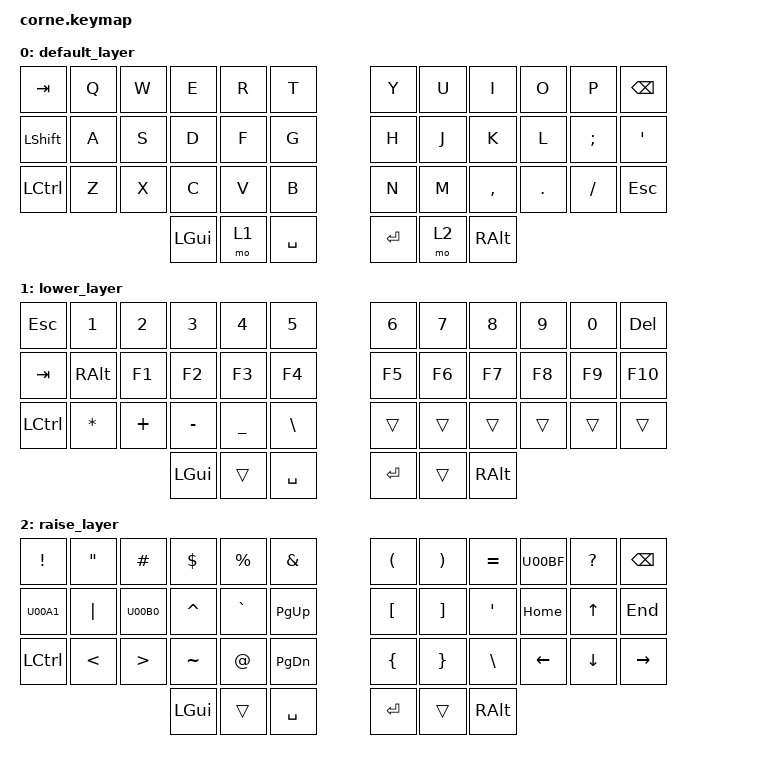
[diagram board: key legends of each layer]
/*
 * Copyright (c) 2020 The ZMK Contributors
 *
 * SPDX-License-Identifier: MIT
 */

#include <behaviors.dtsi>
#include <dt-bindings/zmk/keys.h>
#include <dt-bindings/zmk/bt.h>

 / {
        keymap {
                compatible = "zmk,keymap";

                default_layer {
                        bindings = <
   &kp TAB   &kp Q &kp W &kp E &kp R &kp T   &kp Y &kp U  &kp I     &kp O   &kp P    &kp BSPC
   &kp LSHFT &kp A &kp S &kp D &kp F &kp G   &kp H &kp J  &kp K     &kp L   &kp SEMI &kp SQT
   &kp LCTRL &kp Z &kp X &kp C &kp V &kp B   &kp N &kp M  &kp COMMA &kp DOT &kp FSLH &kp ESC
                  &kp LGUI &mo 1 &kp SPACE   &kp RET &mo 2 &kp RALT
                        >;
                };
                lower_layer {
                        bindings = <
   &kp ESC    &kp N1       &kp N2       &kp N3       &kp N4       &kp N5         &kp N6   &kp N7   &kp N8 &kp N9  &kp N0 &kp DEL
   &kp TAB    &kp RALT     &kp F1       &kp F2       &kp F3       &kp F4         &kp F5   &kp F6   &kp F7 &kp F8  &kp F9 &kp F10
   &kp LCTRL  &kp STAR     &kp PLUS     &kp MINUS    &kp UNDER    &kp BSLH       &trans   &trans   &trans &trans  &trans &trans
                                    &kp LGUI     &trans       &kp SPACE          &kp RET  &trans   &kp RALT
                        >;
                };

                raise_layer {
        bindings = <
   &kp EXCL  &kp DQT &kp HASH &kp DLLR &kp PRCNT &kp AMPS
   &kp LPAR &kp RPAR  &kp EQUAL &kp U00BF &kp QMARK &kp BSPC
   &kp U00A1 &kp PIPE &kp U00B0 &kp CARET &kp GRAVE &kp PAGE_UP
   &kp LBKT &kp RBKT &kp SQT  &kp HOME &kp UP &kp END
   &kp LCTRL &kp LT &kp GT &kp TILDE &kp AT &kp PAGE_DOWN
   &kp LBRC &kp RBRC  &kp BSLH  &kp LEFT &kp DOWN &kp RIGHT
   &kp LGUI &trans   &kp SPACE   &kp RET   &trans    &kp RALT
                        >;
};

        };
};
